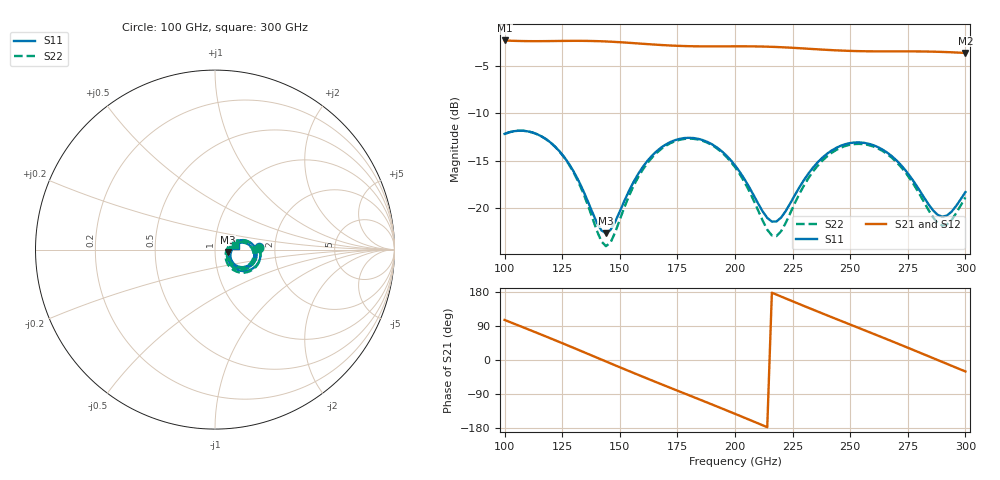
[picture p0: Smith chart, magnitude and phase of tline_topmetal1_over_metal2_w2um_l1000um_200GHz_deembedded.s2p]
! Created with skrf 2.2.0 (http://scikit-rf.org).
# GHz S DB R 50.0
! Port[1] = P1
! Port[2] = P2
!freq dBS11 angS11 dBS21 angS21 dBS12 angS12 dBS22 angS22
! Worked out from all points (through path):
!   101 points, 100 GHz to 300 GHz, reference 50 ohm
!   highest |S21| = -2.27 dB at 100 GHz (marker M1); lowest = -3.6 dB at 300 GHz (marker M2)
!   group delay of S21, straight-line fit = 6.89 ps
!   lowest |S11| = -22.7 dB at 144 GHz (marker M3), VSWR 1.16, Z = 57.7 - j1.58 ohm
!   |S11| at or under -10 dB: start of sweep to end of sweep
!   |S22| runs from -24.1 to -11.8 dB; largest |S21 - S12| = 8.3e-14
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100  -12.17 3.0  -2.27 105.7  -2.27 105.7  -12.18 1.7
108  -11.84 -11.1  -2.33 86.3  -2.33 86.3  -11.84 -13.0
116  -12.44 -25.0  -2.34 66.8  -2.34 66.8  -12.44 -27.5
126  -14.68 -39.7  -2.31 42.0  -2.31 42.0  -14.72 -43.6
134  -18.13 -43.9  -2.31 21.7  -2.31 21.7  -18.38 -49.6
144  -22.71 -10.7  -2.37 -3.9  -2.37 -3.9  -24.09 -14.0
154  -18.22 20.7  -2.52 -29.2  -2.52 -29.2  -18.75 22.7
168  -13.62 8.9  -2.75 -63.9  -2.75 -63.9  -13.77 9.0
176  -12.70 -3.4  -2.84 -83.3  -2.84 -83.3  -12.80 -4.2
184  -12.70 -16.2  -2.89 -102.7  -2.89 -102.7  -12.78 -17.9
200  -15.51 -37.2  -2.89 -142.1  -2.89 -142.1  -15.70 -41.5
210  -19.54 -34.7  -2.90 -167.2  -2.90 -167.2  -20.27 -41.2
218  -21.46 -7.2  -2.96 172.6  -2.96 172.6  -23.01 -8.5
226  -18.66 13.9  -3.06 152.4  -3.06 152.4  -19.51 17.2
234  -15.71 13.5  -3.18 132.6  -3.18 132.6  -16.12 16.0
242  -13.93 4.9  -3.29 113.0  -3.29 113.0  -14.18 6.3
250  -13.15 -6.3  -3.37 93.6  -3.37 93.6  -13.32 -5.8
258  -13.22 -18.1  -3.42 74.2  -3.42 74.2  -13.37 -18.4
268  -14.53 -31.2  -3.43 49.7  -3.43 49.7  -14.69 -32.6
280  -18.13 -36.2  -3.43 19.9  -3.43 19.9  -18.53 -39.2
290  -20.96 -13.3  -3.48 -5.2  -3.48 -5.2  -21.91 -14.3
300  -18.35 10.6  -3.59 -30.2  -3.59 -30.2  -18.91 13.0
